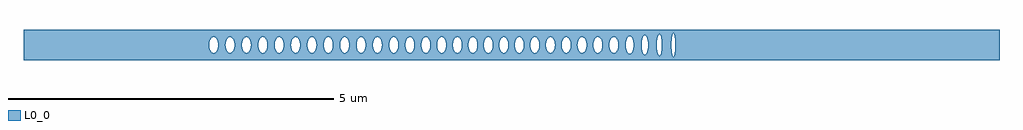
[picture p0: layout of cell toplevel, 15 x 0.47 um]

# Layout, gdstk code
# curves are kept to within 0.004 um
import gdstk
lib = gdstk.Library(unit=1e-6, precision=1e-09)
def P(c, l, *ps):  # polygons
    for p in ps: c.add(gdstk.Polygon(p, *l))
L0_0 = (0, 0)

toplevel = lib.new_cell('toplevel')
P(toplevel, L0_0, [(-4.125,-0.235),(-4.125,-0.085),(-4.144,-0.016),(-4.141,0.038),(-4.125,0.085),(-4.125,0.235),(-7.5,0.235),(-7.5,-0.008),(-4.648,-0.008),(-4.643,0.046),(-4.629,0.085),(-4.611,0.109),(-4.582,0.124),(-4.555,0.118),(-4.532,0.096),(-4.513,0.053),(-4.507,-0.008),(-4.396,-0.008),(-4.394,0.031),(-4.38,0.079),(-4.359,0.109),(-4.33,0.124),(-4.304,0.118),(-4.277,0.09),(-4.26,0.046),(-4.255,0.008),(-4.258,-0.038),(-4.268,-0.073),(-4.295,-0.112),(-4.321,-0.124),(-4.347,-0.118),(-4.374,-0.09),(-4.391,-0.046),(-4.396,-0.008),(-4.507,-0.008),(-4.513,-0.053),(-4.532,-0.096),(-4.555,-0.118),(-4.573,-0.124),(-4.599,-0.118),(-4.622,-0.096),(-4.639,-0.06),(-4.648,-0.008),(-7.5,-0.008),(-7.5,-0.235)],
  [(-3.64,0.016),(-3.632,0.06),(-3.612,0.1),(-3.588,0.12),(-3.557,0.122),(-3.557,0.235),(-4.125,0.235),(-4.125,0.085),(-4.108,0.109),(-4.087,0.122),(-4.061,0.122),(-4.04,0.109),(-4.012,0.06),(-4.004,-0.016),(-3.892,-0.016),(-3.888,0.046),(-3.879,0.073),(-3.856,0.109),(-3.826,0.124),(-3.8,0.118),(-3.777,0.096),(-3.76,0.06),(-3.752,0.016),(-3.756,-0.046),(-3.765,-0.073),(-3.784,-0.105),(-3.809,-0.122),(-3.835,-0.122),(-3.86,-0.105),(-3.882,-0.066),(-3.892,-0.016),(-4.004,-0.016),(-4.022,-0.085),(-4.04,-0.109),(-4.061,-0.122),(-4.096,-0.118),(-4.125,-0.085),(-4.125,-0.235),(-3.557,-0.235),(-3.557,-0.122),(-3.575,-0.124),(-3.592,-0.118),(-3.619,-0.09),(-3.639,-0.031)],
  [(-3.501,-0.023),(-3.513,-0.073),(-3.525,-0.096),(-3.557,-0.122),(-3.557,-0.235),(-3,-0.235),(-3,-0.041),(-3.015,-0.085),(-3.029,-0.105),(-3.049,-0.12),(-3.071,-0.124),(-3.089,-0.118),(-3.112,-0.096),(-3.129,-0.06),(-3.137,-0.016),(-3.134,0.038),(-3.124,0.073),(-3.105,0.105),(-3.08,0.122),(-3.054,0.122),(-3.029,0.105),(-3.015,0.085),(-3,0.038),(-3,0.235),(-3.557,0.235),(-3.557,0.122),(-3.536,0.109),(-3.513,0.073),(-3.503,0.038),(-3.5,-0.008),(-3.389,-0.008),(-3.386,0.038),(-3.376,0.073),(-3.349,0.112),(-3.323,0.124),(-3.305,0.122),(-3.281,0.105),(-3.264,0.079),(-3.253,0.046),(-3.248,-0.008),(-3.257,-0.06),(-3.277,-0.1),(-3.305,-0.122),(-3.332,-0.122),(-3.363,-0.096),(-3.38,-0.06),(-3.389,-0.008),(-3.5,-0.008)],
  [(-2.997,-0.016),(-3,-0.235),(-2.373,-0.235),(-2.373,-0.06),(-2.382,-0.016),(-2.373,0.059),(-2.373,0.235),(-3,0.235),(-2.996,0),(-2.886,0),(-2.881,0.046),(-2.86,0.096),(-2.837,0.118),(-2.811,0.124),(-2.781,0.109),(-2.764,0.085),(-2.751,0.053),(-2.745,-0.008),(-2.634,-0.008),(-2.625,0.06),(-2.601,0.105),(-2.568,0.124),(-2.55,0.122),(-2.529,0.109),(-2.502,0.06),(-2.493,-0.016),(-2.512,-0.085),(-2.529,-0.109),(-2.55,-0.122),(-2.577,-0.122),(-2.608,-0.096),(-2.625,-0.06),(-2.634,-0.008),(-2.745,-0.008),(-2.751,-0.053),(-2.77,-0.096),(-2.793,-0.118),(-2.811,-0.124),(-2.837,-0.118),(-2.86,-0.096),(-2.881,-0.046),(-2.886,0),(-2.996,0)],
  [(-2.371,0.066),(-2.346,0.109),(-2.325,0.122),(-2.298,0.122),(-2.274,0.105),(-2.257,0.079),(-2.243,0.031),(-2.241,-0.008),(-2.131,-0.008),(-2.126,0.046),(-2.112,0.085),(-2.082,0.118),(-2.051,0.123),(-2.022,0.105),(-2.003,0.073),(-1.993,0.038),(-1.99,-0.016),(-1.998,-0.06),(-2.015,-0.096),(-2.038,-0.118),(-2.056,-0.124),(-2.082,-0.118),(-2.105,-0.096),(-2.122,-0.06),(-2.131,-0.008),(-2.241,-0.008),(-2.246,-0.046),(-2.26,-0.085),(-2.278,-0.109),(-2.307,-0.124),(-2.325,-0.122),(-2.346,-0.109),(-2.373,-0.06),(-2.373,-0.235),(-1.823,-0.235),(-1.823,-0.122),(-1.844,-0.109),(-1.861,-0.085),(-1.874,-0.053),(-1.88,-0.016),(-1.877,0.038),(-1.867,0.073),(-1.848,0.105),(-1.823,0.122),(-1.823,0.235),(-2.373,0.235)],
  [(-1.385,0.023),(-1.373,0.073),(-1.361,0.096),(-1.338,0.118),(-1.32,0.124),(-1.298,0.12),(-1.264,0.085),(-1.264,0.235),(-1.823,0.235),(-1.823,0.122),(-1.792,0.12),(-1.765,0.096),(-1.744,0.046),(-1.74,-0.016),(-1.632,-0.016),(-1.629,0.038),(-1.619,0.073),(-1.596,0.109),(-1.566,0.124),(-1.54,0.118),(-1.513,0.09),(-1.496,0.046),(-1.491,0.008),(-1.493,-0.031),(-1.507,-0.079),(-1.528,-0.109),(-1.557,-0.124),(-1.583,-0.118),(-1.607,-0.096),(-1.619,-0.073),(-1.632,-0.016),(-1.74,-0.016),(-1.75,-0.066),(-1.772,-0.105),(-1.797,-0.122),(-1.823,-0.122),(-1.823,-0.235),(-1.264,-0.235),(-1.264,-0.085),(-1.282,-0.109),(-1.303,-0.122),(-1.329,-0.122),(-1.35,-0.109),(-1.38,-0.053)],
  [(-0.664,-0.008),(-0.663,0.235),(-1.264,0.235),(-1.264,0.085),(-1.25,0.046),(-1.246,-0.016),(-1.143,-0.016),(-1.14,0.038),(-1.13,0.073),(-1.107,0.109),(-1.077,0.124),(-1.051,0.118),(-1.021,0.085),(-1.004,0.031),(-1.003,-0.016),(-0.902,-0.016),(-0.898,0.046),(-0.889,0.073),(-0.866,0.109),(-0.836,0.124),(-0.81,0.118),(-0.787,0.096),(-0.77,0.06),(-0.762,0.016),(-0.765,-0.038),(-0.775,-0.073),(-0.798,-0.109),(-0.828,-0.124),(-0.854,-0.118),(-0.877,-0.096),(-0.894,-0.06),(-0.902,-0.016),(-1.003,-0.016),(-1.007,-0.046),(-1.024,-0.09),(-1.039,-0.109),(-1.068,-0.124),(-1.094,-0.118),(-1.118,-0.096),(-1.13,-0.073),(-1.143,-0.016),(-1.246,-0.016),(-1.264,-0.085),(-1.264,-0.235),(-0.663,-0.235)],
  [(-0.187,0.031),(-0.176,0.073),(-0.156,0.105),(-0.156,0.235),(-0.663,0.235),(-0.663,0.023),(-0.653,0.066),(-0.638,0.096),(-0.615,0.118),(-0.589,0.124),(-0.559,0.109),(-0.536,0.073),(-0.526,0.038),(-0.523,-0.016),(-0.426,-0.016),(-0.423,0.038),(-0.407,0.085),(-0.378,0.118),(-0.351,0.124),(-0.322,0.109),(-0.304,0.085),(-0.29,0.046),(-0.285,0),(-0.29,-0.046),(-0.304,-0.085),(-0.322,-0.109),(-0.351,-0.124),(-0.378,-0.118),(-0.401,-0.096),(-0.418,-0.06),(-0.426,-0.016),(-0.523,-0.016),(-0.534,-0.067),(-0.548,-0.096),(-0.567,-0.115),(-0.589,-0.124),(-0.615,-0.118),(-0.635,-0.1),(-0.653,-0.066),(-0.663,-0.026),(-0.663,-0.235),(-0.156,-0.235),(-0.156,-0.105),(-0.176,-0.073),(-0.187,-0.034)],
  [(-0.145,0.115),(-0.123,0.124),(-0.105,0.122),(-0.074,0.096),(-0.053,0.046),(-0.049,-0.016),(0.049,-0.016),(0.055,0.053),(0.074,0.096),(0.097,0.118),(0.132,0.122),(0.157,0.105),(0.176,0.073),(0.19,0),(0.185,-0.046),(0.17,-0.085),(0.153,-0.109),(0.123,-0.124),(0.097,-0.118),(0.074,-0.096),(0.057,-0.06),(0.049,-0.016),(-0.049,-0.016),(-0.064,-0.079),(-0.085,-0.109),(-0.105,-0.122),(-0.123,-0.124),(-0.156,-0.105),(-0.156,-0.235),(0.392,-0.235),(0.392,-0.109),(0.363,-0.124),(0.345,-0.122),(0.324,-0.109),(0.301,-0.073),(0.288,-0.016),(0.294,0.053),(0.32,0.105),(0.354,0.124),(0.371,0.122),(0.392,0.109),(0.392,0.235),(-0.156,0.235),(-0.156,0.105)],
  [(0.772,0.016),(0.776,0.046),(0.793,0.09),(0.808,0.109),(0.837,0.124),(0.863,0.118),(0.887,0.096),(0.909,0.038),(0.909,0.235),(0.392,0.235),(0.392,0.109),(0.42,0.06),(0.428,-0.016),(0.529,-0.016),(0.532,0.038),(0.542,0.073),(0.565,0.109),(0.595,0.124),(0.621,0.118),(0.644,0.096),(0.661,0.06),(0.67,0.008),(0.665,-0.046),(0.651,-0.085),(0.633,-0.109),(0.604,-0.124),(0.577,-0.118),(0.554,-0.096),(0.537,-0.06),(0.529,-0.016),(0.428,-0.016),(0.418,-0.066),(0.392,-0.109),(0.392,-0.235),(0.909,-0.235),(0.909,-0.038),(0.899,-0.073),(0.876,-0.109),(0.855,-0.122),(0.828,-0.122),(0.804,-0.105),(0.787,-0.079),(0.773,-0.031)],
  [(1.503,0.016),(1.507,0.235),(0.909,0.235),(0.912,-0.008),(1.014,-0.008),(1.016,0.031),(1.03,0.079),(1.051,0.109),(1.08,0.124),(1.106,0.118),(1.13,0.096),(1.152,0.038),(1.155,-0.008),(1.257,-0.008),(1.26,0.038),(1.273,0.079),(1.294,0.109),(1.323,0.124),(1.349,0.118),(1.376,0.09),(1.393,0.046),(1.398,0.008),(1.395,-0.038),(1.385,-0.073),(1.358,-0.112),(1.332,-0.124),(1.306,-0.118),(1.279,-0.09),(1.262,-0.046),(1.257,-0.008),(1.155,-0.008),(1.15,-0.046),(1.13,-0.096),(1.111,-0.115),(1.089,-0.124),(1.063,-0.118),(1.036,-0.09),(1.019,-0.046),(1.014,-0.008),(0.912,-0.008),(0.909,-0.235),(1.507,-0.235)],
  [(1.511,0.06),(1.539,0.109),(1.56,0.122),(1.586,0.122),(1.611,0.105),(1.63,0.073),(1.641,0.031),(1.642,-0.017),(1.756,-0.017),(1.757,0.034),(1.769,0.088),(1.79,0.125),(1.805,0.136),(1.82,0.138),(1.842,0.125),(1.858,0.101),(1.874,0.043),(1.877,-0.009),(1.871,-0.059),(1.858,-0.101),(1.842,-0.125),(1.82,-0.138),(1.797,-0.131),(1.775,-0.101),(1.761,-0.059),(1.756,-0.017),(1.642,-0.017),(1.635,-0.06),(1.618,-0.096),(1.595,-0.118),(1.577,-0.124),(1.555,-0.12),(1.535,-0.105),(1.507,-0.046),(1.507,-0.235),(2.056,-0.235),(2.056,-0.151),(2.034,-0.145),(2.019,-0.123),(2.006,-0.081),(1.999,-0.019),(2,0.038),(2.012,0.104),(2.034,0.145),(2.056,0.151),(2.056,0.235),(1.507,0.235),(1.507,0.046)],
  [(2.099,-0.019),(2.084,-0.111),(2.071,-0.138),(2.056,-0.151),(2.056,-0.235),(7.5,-0.235),(7.5,0.235),(2.056,0.235),(2.056,0.151),(2.071,0.138),(2.084,0.111),(2.094,0.073),(2.1,0),(2.231,0),(2.244,0.121),(2.257,0.154),(2.275,0.166),(2.29,0.15),(2.304,0.106),(2.312,0.041),(2.312,-0.034),(2.458,-0.034),(2.459,0.056),(2.472,0.152),(2.483,0.177),(2.491,0.18),(2.502,0.163),(2.51,0.131),(2.519,0.034),(2.518,-0.056),(2.507,-0.146),(2.491,-0.18),(2.479,-0.171),(2.469,-0.139),(2.458,-0.034),(2.312,-0.034),(2.298,-0.128),(2.285,-0.158),(2.27,-0.166),(2.257,-0.154),(2.244,-0.121),(2.231,0),(2.1,0)])

lib.write_gds('toplevel.gds')
